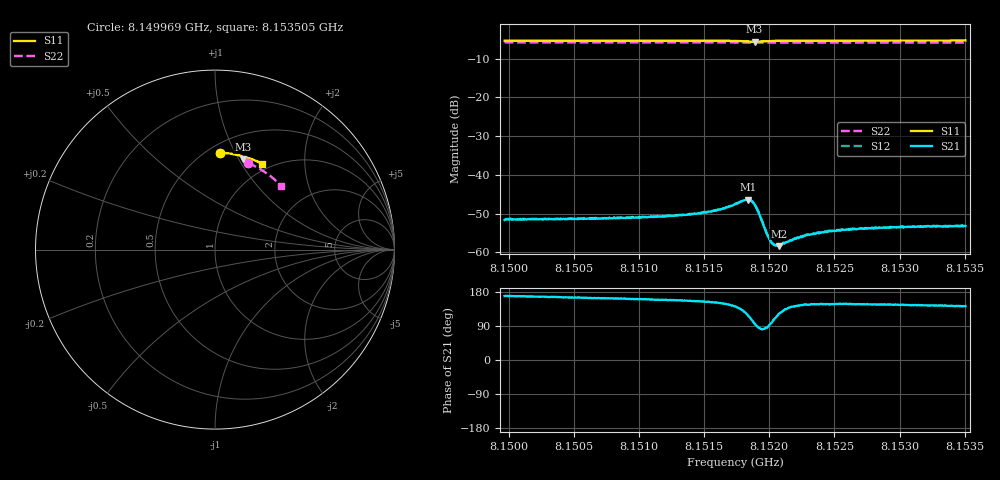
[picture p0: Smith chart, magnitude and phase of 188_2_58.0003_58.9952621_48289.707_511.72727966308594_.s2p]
#  HZ  S  RI  R  50.00
! Rohde & Schwarz Vector Network Analyzer
! Rohde-Schwarz,ZNB20-2Port,1311601062101988,3.16
! Created: UTC 3/21/2024, 12:58:43 AM
! freq[Hz]  re:S11  im:S11  re:S21  im:S21  re:S12  im:S12  re:S22  im:S22
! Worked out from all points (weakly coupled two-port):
!   401 points, 8.149969 GHz to 8.153505 GHz, reference 50 ohm
!   highest |S21| = -46.42 dB at 8.151834 GHz (marker M1); lowest = -58.4 dB at 8.152073 GHz (marker M2)
!   lowest |S11| = -5.6 dB at 8.151887 GHz (marker M3), VSWR 3.22, Z = 37.3 + j51.9 ohm
!   |S11| at or under -10 dB: nowhere
!   |S22| runs from -5.8 to -5.8 dB; largest |S21 - S12| = 0.00011
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8.1499693e9  0.029 0.5395  -0.00257 0.000505  -0.00262 0.000547  0.1845 0.4817
8.1505615e9  0.0705 0.5367  -0.00261 0.000738  -0.00262 0.000773  0.2194 0.4659
8.1511537e9  0.112 0.5303  -0.0027 0.00105  -0.0027 0.00108  0.2531 0.4478
8.1513747e9  0.1279 0.527  -0.00282 0.00124  -0.00282 0.00124  0.2653 0.4403
8.1515338e9  0.1395 0.5237  -0.00302 0.00147  -0.00296 0.00157  0.2739 0.4348
8.1516399e9  0.1479 0.5206  -0.00313 0.00186  -0.00314 0.00192  0.2796 0.4309
8.1517371e9  0.1558 0.5155  -0.00326 0.00261  -0.00325 0.00269  0.2847 0.4273
8.151799e9  0.1596 0.5098  -0.00298 0.00355  -0.00296 0.00362  0.2879 0.4248
8.1518344e9  0.1594 0.5054  -0.00229 0.00419  -0.00225 0.00425  0.2897 0.4235
8.1518609e9  0.1571 0.5031  -0.00142 0.00442  -0.00137 0.00446  0.2909 0.4224
8.1518874e9  0.1542 0.503  -0.000429 0.00412  -0.000398 0.00416  0.292 0.4215
8.1519139e9  0.1521 0.5055  0.000201 0.00339  0.000238 0.00343  0.2933 0.4207
8.1519758e9  0.1547 0.5118  0.000161 0.00181  0.000207 0.00185  0.2965 0.4186
8.1520023e9  0.1572 0.5134  -7.88e-05 0.00146  -8.19e-05 0.00147  0.298 0.4177
8.1520377e9  0.1608 0.5143  -0.000382 0.00118  -0.000369 0.00121  0.2999 0.4164
8.152073e9  0.1644 0.5146  -0.000633 0.00102  -0.000641 0.00107  0.3017 0.415
8.1522321e9  0.1776 0.5125  -0.00127 0.000918  -0.00128 0.000935  0.3099 0.4087
8.1523294e9  0.185 0.5107  -0.00145 0.000928  -0.00145 0.000963  0.3148 0.4049
8.1524531e9  0.1939 0.5079  -0.0016 0.00102  -0.00158 0.00101  0.321 0.3999
8.1525769e9  0.2023 0.505  -0.00165 0.00103  -0.00164 0.00108  0.3268 0.3947
8.1529216e9  0.2252 0.4961  -0.00173 0.00114  -0.00174 0.00121  0.3433 0.38
8.153505e9  0.262 0.4786  -0.00173 0.00134  -0.00172 0.00136  0.3693 0.3536
